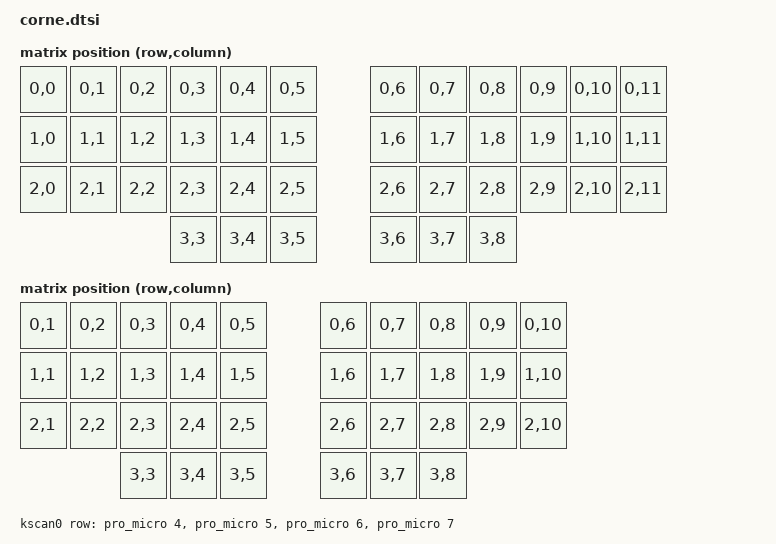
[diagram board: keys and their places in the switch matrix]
/*
 * Copyright (c) 2020 Pete Johanson
 *
 * SPDX-License-Identifier: MIT
 */

#include <dt-bindings/zmk/matrix_transform.h>
#include <dt-bindings/led/led.h>

#include <layouts/foostan/corne/5column.dtsi>
#include <layouts/foostan/corne/6column.dtsi>

&foostan_corne_6col_layout {
    transform = <&default_transform>;
};

&foostan_corne_5col_layout {
    transform = <&five_column_transform>;
};

/ {
    chosen {
        zephyr,display = &oled;
        zmk,kscan = &kscan0;
        zmk,physical-layout = &foostan_corne_6col_layout;
        zmk,underglow = &led_strip;
    };

    default_transform: keymap_transform_0 {
        compatible = "zmk,matrix-transform";
        columns = <12>;
        rows = <4>;
// | SW1  | SW2  | SW3  | SW4  | SW5  | SW6  |   | SW6  | SW5  | SW4  | SW3  | SW2  | SW1  |
// | SW7  | SW8  | SW9  | SW10 | SW11 | SW12 |   | SW12 | SW11 | SW10 | SW9  | SW8  | SW7  |
// | SW13 | SW14 | SW15 | SW16 | SW17 | SW18 |   | SW18 | SW17 | SW16 | SW15 | SW14 | SW13 |
//                      | SW19 | SW20 | SW21 |   | SW21 | SW20 | SW19 |
        map = <
RC(0,0) RC(0,1) RC(0,2) RC(0,3) RC(0,4) RC(0,5)  RC(0,6) RC(0,7) RC(0,8) RC(0,9) RC(0,10) RC(0,11)
RC(1,0) RC(1,1) RC(1,2) RC(1,3) RC(1,4) RC(1,5)  RC(1,6) RC(1,7) RC(1,8) RC(1,9) RC(1,10) RC(1,11)
RC(2,0) RC(2,1) RC(2,2) RC(2,3) RC(2,4) RC(2,5)  RC(2,6) RC(2,7) RC(2,8) RC(2,9) RC(2,10) RC(2,11)
                        RC(3,3) RC(3,4) RC(3,5)  RC(3,6) RC(3,7) RC(3,8)
        >;
    };

    five_column_transform: keymap_transform_1 {
        compatible = "zmk,matrix-transform";
        columns = <10>;
        rows = <4>;
// | SW2  | SW3  | SW4  | SW5  | SW6  |   | SW6  | SW5  | SW4  | SW3  | SW2  |
// | SW8  | SW9  | SW10 | SW11 | SW12 |   | SW12 | SW11 | SW10 | SW9  | SW8  |
// | SW14 | SW15 | SW16 | SW17 | SW18 |   | SW18 | SW17 | SW16 | SW15 | SW14 |
//               | SW19 | SW20 | SW21 |   | SW21 | SW20 | SW19 |
        map = <
RC(0,1) RC(0,2) RC(0,3) RC(0,4) RC(0,5)  RC(0,6) RC(0,7) RC(0,8) RC(0,9) RC(0,10)
RC(1,1) RC(1,2) RC(1,3) RC(1,4) RC(1,5)  RC(1,6) RC(1,7) RC(1,8) RC(1,9) RC(1,10)
RC(2,1) RC(2,2) RC(2,3) RC(2,4) RC(2,5)  RC(2,6) RC(2,7) RC(2,8) RC(2,9) RC(2,10)
                        RC(3,3) RC(3,4) RC(3,5)  RC(3,6) RC(3,7) RC(3,8)
        >;
    };

    kscan0: kscan {
        compatible = "zmk,kscan-gpio-matrix";
        wakeup-source;

        diode-direction = "col2row";
        row-gpios
            = <&pro_micro 4 (GPIO_ACTIVE_HIGH | GPIO_PULL_DOWN)>
            , <&pro_micro 5 (GPIO_ACTIVE_HIGH | GPIO_PULL_DOWN)>
            , <&pro_micro 6 (GPIO_ACTIVE_HIGH | GPIO_PULL_DOWN)>
            , <&pro_micro 7 (GPIO_ACTIVE_HIGH | GPIO_PULL_DOWN)>
            ;

    };
};

// Disabled: this PCB has no OLED, and i2c0's SDA pin (D2/P0.17) is one of
// the RGB data-pin candidates below -- leaving i2c0 enabled would make
// both peripherals fight over that pin.
&pro_micro_i2c {
    status = "disabled";

    oled: ssd1306@3c {
        compatible = "solomon,ssd1306fb";
        reg = <0x3c>;
        width = <128>;
        height = <32>;
        segment-offset = <0>;
        page-offset = <0>;
        display-offset = <0>;
        multiplex-ratio = <31>;
        segment-remap;
        com-invdir;
        com-sequential;
        inversion-on;
        prechargep = <0x22>;
    };
};

// RGB (SK6812/WS2812): 6 underglow + 21 per-key = 27 total in one series
// chain. D1/P0.06 is the data pin. Originally driven over &spi3
// (worldsemi,ws2812-spi / nordic,nrf-spim + EasyDMA), the chain reliably
// cut off after exactly ~10 LEDs on two separate nRF52840 controllers --
// unaffected by GPIO drive strength or SPI clock speed, and confirmed
// count-based (not a physical LED/joint defect) by temporarily bypassing
// the underglow LEDs with a jumper. Switching to worldsemi,ws2812-gpio
// (bit-banged, no SPI/EasyDMA) resolved it.
/ {
    led_strip: ws2812 {
        compatible = "worldsemi,ws2812-gpio";
        status = "okay";

        gpios = <&gpio0 6 GPIO_ACTIVE_HIGH>;

        /* WS2812 */
        chain-length = <21>;
        color-mapping = <LED_COLOR_ID_GREEN LED_COLOR_ID_RED LED_COLOR_ID_BLUE>;
        reset-delay = <80>;
        // delay-t0h/t0l/t1h/t1l intentionally omitted -- the driver
        // auto-derives correct NOP counts from the CPU clock frequency.
    };
};
